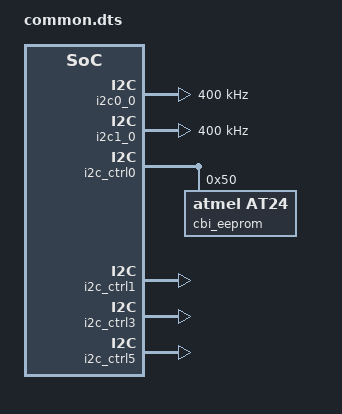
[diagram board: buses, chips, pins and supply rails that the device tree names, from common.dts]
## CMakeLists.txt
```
# Copyright 2022 The ChromiumOS Authors
# Use of this source code is governed by a BSD-style license that can be
# found in the LICENSE file.

cmake_minimum_required(VERSION 3.13.1)
find_package(Zephyr REQUIRED HINTS "${ZEPHYR_BASE}")
project(craask)

add_subdirectory(${PLATFORM_EC}/zephyr/test/test_utils test_utils)

zephyr_include_directories("${PLATFORM_EC}/zephyr/projects/nissa/include")

target_sources(app PRIVATE src/fakes.c)

target_sources_ifdef(CONFIG_TEST_CRAASK
app PRIVATE ${PLATFORM_EC}/zephyr/projects/nissa/craask/src/form_factor.c)
target_sources_ifdef(CONFIG_TEST_FORM_FACTOR_CONVERTIBLE
                        app PRIVATE src/tablet.c)
target_sources_ifdef(CONFIG_TEST_FORM_FACTOR_CLAMSHELL
                        app PRIVATE src/clamshell.c)
target_sources_ifdef(CONFIG_TEST_ALT_SENSOR_PROBE
			app PRIVATE src/alt_sensor.c)
```

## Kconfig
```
# Copyright 2022 The ChromiumOS Authors
# Use of this source code is governed by a BSD-style license that can be
# found in the LICENSE file.

config TEST_CRAASK
	bool "Run the tests intended for Craask"
	help
	  Include form_factor.c into the binary to test the Craask specific
	  code.

config TEST_FORM_FACTOR_CLAMSHELL
	bool "Run the tests intended for clamshells"
        help
	  Include clamshell tests into the binary.
	  Test for non-convertible sku. (ex: Craaskvin)

config TEST_FORM_FACTOR_CONVERTIBLE
	bool "Run the tests intended for convertibles"
	help
	  Include convertible tests into the binary.
	  Test for covertible sku. (ex: Craask, Craaskbowl)

config TEST_ALT_SENSOR_PROBE
	bool "Run the tests intended for alt sensor probe"
	help
	  Include alt_sensor.c into the binary to test the alt sensor probe via
	  SSFC.

source "Kconfig.zephyr"
```

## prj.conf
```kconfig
# Copyright 2022 The ChromiumOS Authors
# Use of this source code is governed by a BSD-style license that can be
# found in the LICENSE file.

CONFIG_ZTEST=y
CONFIG_ZTEST_ASSERT_VERBOSE=1
CONFIG_ZTEST_NEW_API=y
CONFIG_ASSERT=y
CONFIG_EMUL=y
CONFIG_PLATFORM_EC_HOOKS=y

CONFIG_CROS_EC=y
CONFIG_PLATFORM_EC=y

CONFIG_SHELL_MINIMAL=n
CONFIG_LOG=y
CONFIG_LOG_MODE_MINIMAL=y

CONFIG_PLATFORM_EC_MOTIONSENSE=y
CONFIG_PLATFORM_EC_DYNAMIC_MOTION_SENSOR_COUNT=y
CONFIG_PLATFORM_EC_GMR_TABLET_MODE=y
CONFIG_PLATFORM_EC_TABLET_MODE=y
CONFIG_PLATFORM_EC_LID_ANGLE=y

CONFIG_I2C=y
CONFIG_I2C_NPCX=n

CONFIG_PLATFORM_EC_CBI_EEPROM=y
CONFIG_PLATFORM_EC_BOARD_VERSION_CBI=y
CONFIG_EEPROM=y
CONFIG_EEPROM_AT24=y
CONFIG_EEPROM_SIMULATOR=n
CONFIG_EMUL_EEPROM_AT2X=y
CONFIG_EEPROM_SHELL=n

CONFIG_PLATFORM_EC_KEYBOARD=y
CONFIG_PLATFORM_EC_VOLUME_BUTTONS=y
CONFIG_PLATFORM_EC_BUTTONS_RUNTIME_CONFIG=y
```

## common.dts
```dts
/* Copyright 2022 The ChromiumOS Authors
 * Use of this source code is governed by a BSD-style license that can be
 * found in the LICENSE file.
 */

#include <dt-bindings/gpio_defines.h>
#include <npcx_emul.dts>

/ {
	named-i2c-ports {
		compatible = "named-i2c-ports";
		i2c_ec_i2c_eeprom: ec_i2c_eeprom {
			i2c-port = <&i2c0_0>;
			enum-names = "I2C_PORT_EEPROM";
		};
		i2c_ec_i2c_sensor: ec_i2c_sensor {
			i2c-port = <&i2c1_0>;
			enum-names = "I2C_PORT_SENSOR";
		};
	};
	/* TODO(jbettis): Move the i2c ports and pinctrls to npcx_emul.dts,
	 * and add all of them instead of just these.
	 */
	soc-if {
		i2c0_0: io_i2c_ctrl0_port0 {
			compatible = "nuvoton,npcx-i2c-port";
			#address-cells = <1>;
			#size-cells = <0>;
			port = <0x00>;
			controller = <&i2c_ctrl0>;
			status = "disabled";
		};
		i2c1_0: io_i2c_ctrl1_port0 {
			compatible = "nuvoton,npcx-i2c-port";
			#address-cells = <1>;
			#size-cells = <0>;
			port = <0x10>;
			controller = <&i2c_ctrl1>;
			status = "disabled";
		};
	};
	pinctrl: pinctrl {
		compatible = "nuvoton,npcx-pinctrl";
		status = "okay";
		/* I2C peripheral interfaces */
		/omit-if-no-ref/ i2c0_0_sda_scl_gpb4_b5: periph-i2c0-0 {
			pinmux = <&alt2_i2c0_0_sl>;
			periph-pupd = <0x00 6>;
		};
		/omit-if-no-ref/ i2c1_0_sda_scl_gp87_90: periph-i2c1-0 {
			pinmux = <&alt2_i2c1_0_sl>;
			periph-pupd = <0x00 0>;
		};
	};
	npcx-alts-map {
		compatible = "nuvoton,npcx-pinctrl-conf";
		/* SCFG DEVALT 2 */
		alt2_i2c0_0_sl: alt26 {
			alts = <&scfg 0x02 0x6 0>;
		};
		alt2_i2c1_0_sl: alt20 {
			alts = <&scfg 0x02 0x0 0>;
		};
	};
};

&i2c0_0 {
	status = "okay";
	clock-frequency = <I2C_BITRATE_FAST>;
	pinctrl-0 = <&i2c0_0_sda_scl_gpb4_b5>;
	pinctrl-names = "default";
};

&i2c1_0 {
	status = "okay";
	clock-frequency = <I2C_BITRATE_FAST>;
	pinctrl-0 = <&i2c1_0_sda_scl_gp87_90>;
	pinctrl-names = "default";
};

&i2c_ctrl0 {
	status = "okay";
};

&i2c_ctrl1 {
	status = "okay";
};

&i2c_ctrl3 {
	status = "okay";
};

&i2c_ctrl5 {
	status = "okay";
};

&i2c_ctrl0 {
	cbi_eeprom: eeprom@50 {
		compatible = "atmel,at24";
		reg = <0x50>;
		size = <2048>;
		pagesize = <16>;
		address-width = <8>;
		timeout = <5>;
	};
};
```

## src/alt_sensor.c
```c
/* Copyright 2022 The ChromiumOS Authors
 * Use of this source code is governed by a BSD-style license that can be
 * found in the LICENSE file.
 */

#include "zephyr/kernel.h"
#include <zephyr/drivers/gpio/gpio_emul.h>
#include <zephyr/ztest.h>

#include "cros_board_info.h"
#include "cros_cbi.h"
#include "gpio_signal.h"
#include "hooks.h"

/* SSFC field defined in zephyr/projects/nissa/craask/cbi.dts */
#define SSFC_LID_MAIN_SENSOR (0x0)
#define SSFC_LID_ALT_SENSOR (0x1 << 2)

#define SSFC_BASE_MAIN_SENSOR 0x0
#define SSFC_BASE_ALT_SENSOR (0x1 << 4)

#define SSFC_MAIM_SENSORS (SSFC_LID_MAIN_SENSOR | SSFC_BASE_MAIN_SENSOR)
#define SSFC_ALT_SENSORS (SSFC_LID_ALT_SENSOR | SSFC_BASE_ALT_SENSOR)

static void *use_alt_sensor_setup(void)
{
	const struct device *wp_gpio =
		DEVICE_DT_GET(DT_GPIO_CTLR(DT_ALIAS(gpio_wp), gpios));
	const gpio_port_pins_t wp_pin = DT_GPIO_PIN(DT_ALIAS(gpio_wp), gpios);

	/* Make sure that write protect is disabled */
	zassert_ok(gpio_emul_input_set(wp_gpio, wp_pin, 1), NULL);
	/* Set SSFC to enable alt sensors. */
	zassert_ok(cbi_set_ssfc(SSFC_ALT_SENSORS), NULL);
	/* Run init hooks to initialize cbi. */
	hook_notify(HOOK_INIT);

	return NULL;
}

ZTEST_SUITE(use_alt_sensor, NULL, use_alt_sensor_setup, NULL, NULL, NULL);

static void *no_alt_sensor_setup(void)
{
	const struct device *wp_gpio =
		DEVICE_DT_GET(DT_GPIO_CTLR(DT_ALIAS(gpio_wp), gpios));
	const gpio_port_pins_t wp_pin = DT_GPIO_PIN(DT_ALIAS(gpio_wp), gpios);

	/* Make sure that write protect is disabled */
	zassert_ok(gpio_emul_input_set(wp_gpio, wp_pin, 1), NULL);
	/* Set SSFC to disable alt sensors. */
	zassert_ok(cbi_set_ssfc(SSFC_MAIM_SENSORS), NULL);
	/* Run init hooks to initialize cbi. */
	hook_notify(HOOK_INIT);

	return NULL;
}

ZTEST_SUITE(no_alt_sensor, NULL, no_alt_sensor_setup, NULL, NULL, NULL);

static int interrupt_id;

void lsm6dso_interrupt(enum gpio_signal signal)
{
	interrupt_id = 1;
}

void bmi3xx_interrupt(enum gpio_signal signal)
{
	interrupt_id = 2;
}

ZTEST(use_alt_sensor, test_use_alt_sensor)
{
	const struct device *base_imu_gpio = DEVICE_DT_GET(
		DT_GPIO_CTLR(DT_NODELABEL(gpio_imu_int_l), gpios));
	const gpio_port_pins_t base_imu_pin =
		DT_GPIO_PIN(DT_NODELABEL(gpio_imu_int_l), gpios);

	zassert_ok(gpio_emul_input_set(base_imu_gpio, base_imu_pin, 1), NULL);
	k_sleep(K_MSEC(100));
	zassert_ok(gpio_emul_input_set(base_imu_gpio, base_imu_pin, 0), NULL);
	k_sleep(K_MSEC(100));

	zassert_equal(interrupt_id, 2, "interrupt_id=%d", interrupt_id);
}

ZTEST(no_alt_sensor, test_no_alt_sensor)
{
	const struct device *base_imu_gpio = DEVICE_DT_GET(
		DT_GPIO_CTLR(DT_NODELABEL(gpio_imu_int_l), gpios));
	const gpio_port_pins_t base_imu_pin =
		DT_GPIO_PIN(DT_NODELABEL(gpio_imu_int_l), gpios);

	zassert_ok(gpio_emul_input_set(base_imu_gpio, base_imu_pin, 1), NULL);
	k_sleep(K_MSEC(100));
	zassert_ok(gpio_emul_input_set(base_imu_gpio, base_imu_pin, 0), NULL);
	k_sleep(K_MSEC(100));

	zassert_equal(interrupt_id, 1, "interrupt_id=%d", interrupt_id);
}
```

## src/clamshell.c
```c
/* Copyright 2022 The ChromiumOS Authors
 * Use of this source code is governed by a BSD-style license that can be
 * found in the LICENSE file.
 */

#include "zephyr/kernel.h"
#include <zephyr/drivers/gpio/gpio_emul.h>
#include <zephyr/ztest.h>

#include "cros_board_info.h"
#include "cros_cbi.h"
#include "gpio_signal.h"
#include "hooks.h"
#include "tablet_mode.h"

static void *clamshell_setup(void)
{
	uint32_t val;
	const struct device *wp_gpio =
		DEVICE_DT_GET(DT_GPIO_CTLR(DT_ALIAS(gpio_wp), gpios));
	const gpio_port_pins_t wp_pin = DT_GPIO_PIN(DT_ALIAS(gpio_wp), gpios);

	/* Make sure that write protect is disabled */
	zassert_ok(gpio_emul_input_set(wp_gpio, wp_pin, 1), NULL);
	/* Set CBI form factor to CONVERTIBLE. */
	zassert_ok(cbi_set_fw_config(CLAMSHELL << 9), NULL);
	/* Run init hooks to initialize cbi. */
	hook_notify(HOOK_INIT);

	/* Check if CBI write worked. */
	zassert_ok(cros_cbi_get_fw_config(FORM_FACTOR, &val), NULL);
	zassert_equal(CLAMSHELL, val, "val=%d", val);

	return NULL;
}

ZTEST_SUITE(steelix_clamshell, NULL, clamshell_setup, NULL, NULL, NULL);

ZTEST(steelix_clamshell, test_gmr_tablet_switch_disabled)
{
	const struct device *tablet_mode_gpio = DEVICE_DT_GET(
		DT_GPIO_CTLR(DT_NODELABEL(gpio_tablet_mode_l), gpios));
	const gpio_port_pins_t tablet_mode_pin =
		DT_GPIO_PIN(DT_NODELABEL(gpio_tablet_mode_l), gpios);

	/* Verify gmr_tablet_switch is disabled, by checking the side effects
	 * of calling tablet_set_mode, and setting gpio_tablet_mode_l.
	 */
	zassert_ok(gpio_emul_input_set(tablet_mode_gpio, tablet_mode_pin, 0),
		   NULL);
	k_sleep(K_MSEC(100));
	tablet_set_mode(1, TABLET_TRIGGER_LID);
	zassert_equal(0, tablet_get_mode(), NULL);
	zassert_ok(gpio_emul_input_set(tablet_mode_gpio, tablet_mode_pin, 1),
		   NULL);
	k_sleep(K_MSEC(100));
	tablet_set_mode(0, TABLET_TRIGGER_LID);
	zassert_equal(0, tablet_get_mode(), NULL);
	zassert_ok(gpio_emul_input_set(tablet_mode_gpio, tablet_mode_pin, 0),
		   NULL);
	k_sleep(K_MSEC(100));
	tablet_set_mode(1, TABLET_TRIGGER_LID);
	zassert_equal(0, tablet_get_mode(), NULL);
}

static int interrupt_count;

void bmi3xx_interrupt(enum gpio_signal signal)
{
	interrupt_count++;
}

ZTEST(steelix_clamshell, test_base_imu_irq_disabled)
{
	const struct device *base_imu_gpio = DEVICE_DT_GET(
		DT_GPIO_CTLR(DT_NODELABEL(gpio_imu_int_l), gpios));
	const gpio_port_pins_t base_imu_pin =
		DT_GPIO_PIN(DT_NODELABEL(gpio_imu_int_l), gpios);

	/* Verify base_imu_irq is disabled. */
	interrupt_count = 0;
	zassert_ok(gpio_emul_input_set(base_imu_gpio, base_imu_pin, 1), NULL);
	k_sleep(K_MSEC(100));
	zassert_ok(gpio_emul_input_set(base_imu_gpio, base_imu_pin, 0), NULL);
	k_sleep(K_MSEC(100));

	zassert_equal(interrupt_count, 0, "interrupt_count=%d",
		      interrupt_count);
}
```

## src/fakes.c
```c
/* Copyright 2022 The ChromiumOS Authors
 * Use of this source code is governed by a BSD-style license that can be
 * found in the LICENSE file.
 */

#include <zephyr/fff.h>
#include "gpio_signal.h"

FAKE_VOID_FUNC(power_button_interrupt, enum gpio_signal);
FAKE_VOID_FUNC(button_interrupt, enum gpio_signal);
FAKE_VOID_FUNC(lid_interrupt, enum gpio_signal);
FAKE_VOID_FUNC(chipset_reset_request_interrupt, enum gpio_signal);
FAKE_VOID_FUNC(power_signal_interrupt, enum gpio_signal);
FAKE_VOID_FUNC(chipset_watchdog_interrupt, enum gpio_signal);
FAKE_VOID_FUNC(extpower_interrupt, enum gpio_signal);
FAKE_VOID_FUNC(usb_a0_interrupt, enum gpio_signal);
FAKE_VOID_FUNC(switch_interrupt, enum gpio_signal);
FAKE_VOID_FUNC(tcpc_alert_event, enum gpio_signal);
FAKE_VOID_FUNC(ppc_interrupt, enum gpio_signal);
FAKE_VOID_FUNC(bc12_interrupt, enum gpio_signal);

#ifdef CONFIG_TEST_CRAASK
FAKE_VOID_FUNC(motion_sensors_check_ssfc);
#endif
```

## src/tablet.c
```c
/* Copyright 2022 The ChromiumOS Authors
 * Use of this source code is governed by a BSD-style license that can be
 * found in the LICENSE file.
 */

#include "zephyr/kernel.h"
#include <zephyr/drivers/gpio/gpio_emul.h>
#include <zephyr/ztest.h>

#include "cros_board_info.h"
#include "cros_cbi.h"
#include "gpio_signal.h"
#include "hooks.h"
#include "tablet_mode.h"

static void *tablet_setup(void)
{
	uint32_t val;
	const struct device *wp_gpio =
		DEVICE_DT_GET(DT_GPIO_CTLR(DT_ALIAS(gpio_wp), gpios));
	const gpio_port_pins_t wp_pin = DT_GPIO_PIN(DT_ALIAS(gpio_wp), gpios);

	/* Make sure that write protect is disabled */
	zassert_ok(gpio_emul_input_set(wp_gpio, wp_pin, 1), NULL);
	/* Set CBI form factor to CONVERTIBLE. */
	zassert_ok(cbi_set_fw_config(CONVERTIBLE << 9), NULL);
	/* Run init hooks to initialize cbi. */
	hook_notify(HOOK_INIT);

	/* Check if CBI write worked. */
	zassert_ok(cros_cbi_get_fw_config(FORM_FACTOR, &val), NULL);
	zassert_equal(CONVERTIBLE, val, "val=%d", val);

	return NULL;
}

ZTEST_SUITE(steelix_tablet, NULL, tablet_setup, NULL, NULL, NULL);

ZTEST(steelix_tablet, test_gmr_tablet_switch_enabled)
{
	const struct device *tablet_mode_gpio = DEVICE_DT_GET(
		DT_GPIO_CTLR(DT_NODELABEL(gpio_tablet_mode_l), gpios));
	const gpio_port_pins_t tablet_mode_pin =
		DT_GPIO_PIN(DT_NODELABEL(gpio_tablet_mode_l), gpios);

	/* Verify gmr_tablet_switch is enabled, by checking the side effects
	 * of calling tablet_set_mode, and setting gpio_tablet_mode_l.
	 */
	zassert_ok(gpio_emul_input_set(tablet_mode_gpio, tablet_mode_pin, 0),
		   NULL);
	k_sleep(K_MSEC(100));
	tablet_set_mode(1, TABLET_TRIGGER_LID);
	zassert_equal(1, tablet_get_mode(), NULL);
	zassert_ok(gpio_emul_input_set(tablet_mode_gpio, tablet_mode_pin, 1),
		   NULL);
	k_sleep(K_MSEC(100));
	tablet_set_mode(0, TABLET_TRIGGER_LID);
	zassert_equal(0, tablet_get_mode(), NULL);
	zassert_ok(gpio_emul_input_set(tablet_mode_gpio, tablet_mode_pin, 0),
		   NULL);
	k_sleep(K_MSEC(100));
	tablet_set_mode(1, TABLET_TRIGGER_LID);
	zassert_equal(1, tablet_get_mode(), NULL);
}

static int interrupt_count;

void bmi3xx_interrupt(enum gpio_signal signal)
{
	interrupt_count++;
}

ZTEST(steelix_tablet, test_base_imu_irq_enabled)
{
	const struct device *base_imu_gpio = DEVICE_DT_GET(
		DT_GPIO_CTLR(DT_NODELABEL(gpio_imu_int_l), gpios));
	const gpio_port_pins_t base_imu_pin =
		DT_GPIO_PIN(DT_NODELABEL(gpio_imu_int_l), gpios);

	/* Verify base_imu_irq is enabled. Interrupt is configured
	 * GPIO_INT_EDGE_FALLING, so set high, then set low.
	 */
	interrupt_count = 0;
	zassert_ok(gpio_emul_input_set(base_imu_gpio, base_imu_pin, 1), NULL);
	k_sleep(K_MSEC(100));
	zassert_ok(gpio_emul_input_set(base_imu_gpio, base_imu_pin, 0), NULL);
	k_sleep(K_MSEC(100));

	zassert_equal(interrupt_count, 1, "interrupt_count=%d",
		      interrupt_count);
}
```
